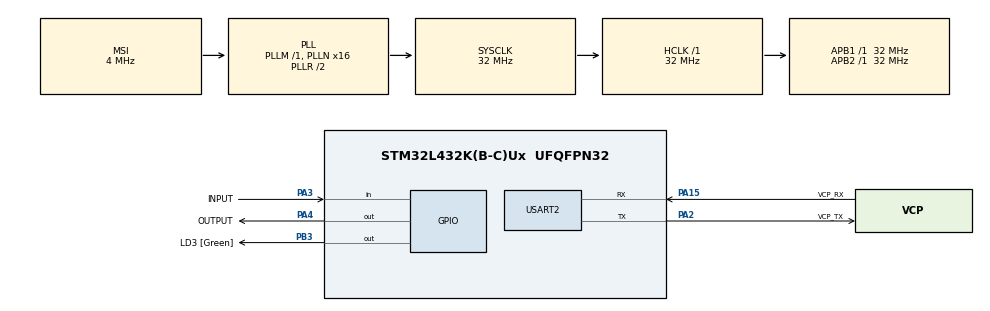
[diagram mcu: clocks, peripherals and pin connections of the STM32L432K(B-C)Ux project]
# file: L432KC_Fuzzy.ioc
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Mcu.Family=STM32L4
Mcu.Name=STM32L432K(B-C)Ux
Mcu.Package=UFQFPN32
NVIC.PriorityGroup=NVIC_PRIORITYGROUP_4
PA0.GPIO_Label=MCO [High speed clock in]
PA0.Mode=HSE-External-Clock-Source-for-LittleOrca
PA0.Signal=RCC_CK_IN
PA13\ (JTMS-SWDIO).GPIO_Label=SWDIO
PA13\ (JTMS-SWDIO).Mode=Serial_Wire
PA13\ (JTMS-SWDIO).Signal=SYS_JTMS-SWDIO
PA14\ (JTCK-SWCLK).GPIO_Label=SWCLK
PA14\ (JTCK-SWCLK).Mode=Serial_Wire
PA14\ (JTCK-SWCLK).Signal=SYS_JTCK-SWCLK
PA15\ (JTDI).GPIO_Label=VCP_RX
PA15\ (JTDI).Mode=Asynchronous
PA15\ (JTDI).Signal=USART2_RX
PA2.GPIO_Label=VCP_TX
PA2.Mode=Asynchronous
PA2.Signal=USART2_TX
PA3.GPIO_Label=INPUT
PA3.Signal=GPIO_Input
PA4.GPIO_Label=OUTPUT
PA4.Signal=GPIO_Output
PB3\ (JTDO-TRACESWO).GPIO_Label=LD3 [Green]
PB3\ (JTDO-TRACESWO).Signal=GPIO_Output
PC14-OSC32_IN\ (PC14).Mode=LSE-External-Oscillator
PC14-OSC32_IN\ (PC14).Signal=RCC_OSC32_IN
PC15-OSC32_OUT\ (PC15).Mode=LSE-External-Oscillator
PC15-OSC32_OUT\ (PC15).Signal=RCC_OSC32_OUT
ProjectManager.HeapSize=0x200
ProjectManager.StackSize=0x400
ProjectManager.TargetToolchain=STM32CubeIDE
RCC.AHBFreq_Value=32000000
RCC.APB1Freq_Value=32000000
RCC.APB1TimFreq_Value=32000000
RCC.APB2Freq_Value=32000000
RCC.APB2TimFreq_Value=32000000
RCC.CortexFreq_Value=32000000
RCC.HCLKFreq_Value=32000000
RCC.HSE_VALUE=8000000
RCC.HSI16_VALUE=16000000
RCC.HSI48_VALUE=48000000
RCC.HSI_VALUE=16000000
RCC.MSI_VALUE=4000000
RCC.PLLMUL=RCC_PLLMUL_4
RCC.PLLN=16
RCC.SYSCLKFreq_VALUE=32000000
RCC.SYSCLKSource=RCC_SYSCLKSOURCE_PLLCLK
RCC.VCOOutputFreq_Value=64000000
USART2.VirtualMode-Asynchronous=VM_ASYNC
board=NUCLEO-L432KC

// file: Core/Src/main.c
/* USER CODE BEGIN Header */
/**
  ******************************************************************************
  * @file           : main.c
  * @brief          : Main program body
  ******************************************************************************
  * @attention
  *
  * Copyright (c) 2024 STMicroelectronics.
  * All rights reserved.
  *
  * This software is licensed under terms that can be found in the LICENSE file
  * in the root directory of this software component.
  * If no LICENSE file comes with this software, it is provided AS-IS.
  *
  ******************************************************************************
  */
/* USER CODE END Header */
#include "main.h"

/* USER CODE BEGIN Includes */
#include <stdlib.h>
#include <stdio.h>
/* USER CODE END Includes */

UART_HandleTypeDef huart2;

/* USER CODE BEGIN PV */

////////////////////////////////////////////////////////////////////////////////
volatile int Fuzzy_Matrix[3][3];
volatile int NE,NDE,PE,PDE,ZE,ZDE,err_sum,error,d_err,Kp,Ki,Kd,prev_err;
//volatile float
volatile int PWM_Fuzzy,ticks;
volatile int target=50;
volatile int Kp_small,Kp_medium,Kp_large;
volatile int Ki_small,Ki_medium,Ki_large;
volatile int Kd_small,Kd_medium,Kd_large;
volatile int out;
const int Kp_s=1,Kp_m=2,Kp_l=3;
const int Ki_s=1,Ki_m=2,Ki_l=3;
const int Kd_s=1,Kd_m=2,Kd_l=3;
////////////////////////////////////////////////////////////////////////////////

/* USER CODE END PV */

void SystemClock_Config(void);
static void MX_GPIO_Init(void);
static void MX_USART2_UART_Init(void);
/* USER CODE BEGIN PFP */

////////////////////////////////////////////////////////////////////////////////
void init(){
	int i,j;
	NE=0; PDE=0; NDE=0; PE=0; ZE=0; ZDE=0;
	Kp=0; Ki=0; Kd=0;
	error=0;
	prev_err=0;
	PWM_Fuzzy=0;
	err_sum=0;
	for(i=0;i<3;i++){
		for(j=0;j<3;j++) Fuzzy_Matrix[i][j]=0;
	}
}

int max(int x,int y){
	return x>y?x:y;
}

int min(int x,int y){
	return x>y?y:x;
}

void Fuzzification(){
	NE=0; PDE=0; NDE=0; PE=0;
	if(error<=-20) NE=20;
	else if(error>=20) PE=20;
	else{
		if(error>=0){
			PE=error;
			NDE=20-error;
		}
		else{
			NE=-error;
			ZDE=20+error;
		}
	}
	if(d_err<=-20) NDE=20;
	else if(d_err>=20) PDE=20;
	else{
		if(d_err>=0){
			PDE=d_err;
			ZDE=20-d_err;
		}
		else{
			NDE=-d_err;
			ZDE=20+d_err;
		}
	}
}

void Create_Fuzzy_Matrix(){
	Fuzzy_Matrix[0][0]=min(NE,NDE);
	Fuzzy_Matrix[0][1]=min(NE,ZDE);
	Fuzzy_Matrix[0][2]=min(NE,PDE);
	Fuzzy_Matrix[1][0]=min(ZE,NDE);
	Fuzzy_Matrix[1][1]=min(ZE,ZDE);
	Fuzzy_Matrix[1][2]=min(ZE,PDE);
	Fuzzy_Matrix[2][0]=min(PE,NDE);
	Fuzzy_Matrix[2][1]=min(PE,ZDE);
	Fuzzy_Matrix[2][2]=min(PE,PDE);
}

void Defuzzification(){
	Kp_small=max(Fuzzy_Matrix[0][0],Fuzzy_Matrix[0][1]);
	Kp_large=max(Fuzzy_Matrix[2][1],Fuzzy_Matrix[2][2]);
	Kp_medium=max(Fuzzy_Matrix[0][1],max(Fuzzy_Matrix[1][0],max(Fuzzy_Matrix[1][1],max(Fuzzy_Matrix[1][2],Fuzzy_Matrix[2][1]))));

	Ki_small=max(Fuzzy_Matrix[0][0],Fuzzy_Matrix[0][1]);
	Ki_large=max(Fuzzy_Matrix[2][1],Fuzzy_Matrix[2][2]);
	Ki_medium=max(Fuzzy_Matrix[0][1],max(Fuzzy_Matrix[1][0],max(Fuzzy_Matrix[1][1],max(Fuzzy_Matrix[1][2],Fuzzy_Matrix[2][1]))));

	Kd_large=max(Fuzzy_Matrix[0][0],Fuzzy_Matrix[0][1]);
	Kd_small=max(Fuzzy_Matrix[2][1],Fuzzy_Matrix[2][2]);
	Kd_medium=max(Fuzzy_Matrix[0][1],max(Fuzzy_Matrix[1][0],max(Fuzzy_Matrix[1][1],max(Fuzzy_Matrix[1][2],Fuzzy_Matrix[2][1]))));

	if(Kp_small!=0 || Kp_medium!=0 || Kp_large!=0) Kp=(Kp_s*Kp_small+Kp_m*Kp_medium+Kp_l*Kp_large)/(Kp_small+Kp_medium+Kp_large);
	if(Ki_small!=0 || Ki_medium!=0 || Ki_large!=0) Ki=(Ki_s*Ki_small+Ki_m*Ki_medium+Ki_l*Ki_large)/(Ki_small+Ki_medium+Ki_large);
	if(Kd_small!=0 || Kd_medium!=0 || Kd_large!=0) Kd=(Kd_s*Kd_small+Kd_m*Kd_medium+Kd_l*Kd_large)/(Kd_small+Kd_medium+Kd_large);
}

int Compute_PWM(){
	err_sum+=error;
	out=Kp*error + Ki*err_sum + Kd*d_err;
	if(out>127) out=127;
	else if(out<0) out=0;
	prev_err=error;
	return out;
}

//int PWM_Fuzzy = 200;

void Input_Fuzzy(int input)
{

	//Receiving Data as ticks
	ticks=input;
	//Call the Fuzzy Code Function Here and return the value to PWM_Fuzzy
	error=target-ticks;
	d_err=error-prev_err;
	Fuzzification();
	Create_Fuzzy_Matrix();
	Defuzzification();
	PWM_Fuzzy=Compute_PWM();

}
////////////////////////////////////////////////////////////////////////////////

/* USER CODE END PFP */

int main(void)
{

  /* MCU Configuration--------------------------------------------------------*/

  /* Reset of all peripherals, Initializes the Flash interface and the Systick. */
  HAL_Init();

  /* Configure the system clock */
  SystemClock_Config();

  /* Initialize all configured peripherals */
  MX_GPIO_Init();
  MX_USART2_UART_Init();
  /* USER CODE BEGIN 2 */

  //////////////////////////////////////////////////////////////////////////////

  //init();
  //int input_ = 60;
  //Send data
  //Input_Fuzzy(input_);

  //////////////////////////////////////////////////////////////////////////////

  /* USER CODE END 2 */

  /* Infinite loop */
  /* USER CODE BEGIN WHILE */
  while (1)
  {

	////////////////////////////////////////////////////////////////////////////
	//Send PWM;
	////////////////////////////////////////////////////////////////////////////

    /* USER CODE END WHILE */

  }
}

void SystemClock_Config(void)
{
  RCC_OscInitTypeDef RCC_OscInitStruct = {0};
  RCC_ClkInitTypeDef RCC_ClkInitStruct = {0};

  /** Configure the main internal regulator output voltage
  */
  if (HAL_PWREx_ControlVoltageScaling(PWR_REGULATOR_VOLTAGE_SCALE1) != HAL_OK)
  {
    Error_Handler();
  }

  /** Configure LSE Drive Capability
  */
  HAL_PWR_EnableBkUpAccess();
  __HAL_RCC_LSEDRIVE_CONFIG(RCC_LSEDRIVE_LOW);

  /** Initializes the RCC Oscillators according to the specified parameters
  * in the RCC_OscInitTypeDef structure.
  */
  RCC_OscInitStruct.OscillatorType = RCC_OSCILLATORTYPE_LSE|RCC_OSCILLATORTYPE_MSI;
  RCC_OscInitStruct.LSEState = RCC_LSE_ON;
  RCC_OscInitStruct.MSIState = RCC_MSI_ON;
  RCC_OscInitStruct.MSICalibrationValue = 0;
  RCC_OscInitStruct.MSIClockRange = RCC_MSIRANGE_6;
  RCC_OscInitStruct.PLL.PLLState = RCC_PLL_ON;
  RCC_OscInitStruct.PLL.PLLSource = RCC_PLLSOURCE_MSI;
  RCC_OscInitStruct.PLL.PLLM = 1;
  RCC_OscInitStruct.PLL.PLLN = 16;
  RCC_OscInitStruct.PLL.PLLP = RCC_PLLP_DIV7;
  RCC_OscInitStruct.PLL.PLLQ = RCC_PLLQ_DIV2;
  RCC_OscInitStruct.PLL.PLLR = RCC_PLLR_DIV2;
  if (HAL_RCC_OscConfig(&RCC_OscInitStruct) != HAL_OK)
  {
    Error_Handler();
  }

  /** Initializes the CPU, AHB and APB buses clocks
  */
  RCC_ClkInitStruct.ClockType = RCC_CLOCKTYPE_HCLK|RCC_CLOCKTYPE_SYSCLK
                              |RCC_CLOCKTYPE_PCLK1|RCC_CLOCKTYPE_PCLK2;
  RCC_ClkInitStruct.SYSCLKSource = RCC_SYSCLKSOURCE_PLLCLK;
  RCC_ClkInitStruct.AHBCLKDivider = RCC_SYSCLK_DIV1;
  RCC_ClkInitStruct.APB1CLKDivider = RCC_HCLK_DIV1;
  RCC_ClkInitStruct.APB2CLKDivider = RCC_HCLK_DIV1;

  if (HAL_RCC_ClockConfig(&RCC_ClkInitStruct, FLASH_LATENCY_1) != HAL_OK)
  {
    Error_Handler();
  }

  /** Enable MSI Auto calibration
  */
  HAL_RCCEx_EnableMSIPLLMode();
}

static void MX_USART2_UART_Init(void)
{

  huart2.Instance = USART2;
  huart2.Init.BaudRate = 115200;
  huart2.Init.WordLength = UART_WORDLENGTH_8B;
  huart2.Init.StopBits = UART_STOPBITS_1;
  huart2.Init.Parity = UART_PARITY_NONE;
  huart2.Init.Mode = UART_MODE_TX_RX;
  huart2.Init.HwFlowCtl = UART_HWCONTROL_NONE;
  huart2.Init.OverSampling = UART_OVERSAMPLING_16;
  huart2.Init.OneBitSampling = UART_ONE_BIT_SAMPLE_DISABLE;
  huart2.AdvancedInit.AdvFeatureInit = UART_ADVFEATURE_NO_INIT;
  if (HAL_UART_Init(&huart2) != HAL_OK)
  {
    Error_Handler();
  }

}

static void MX_GPIO_Init(void)
{
  GPIO_InitTypeDef GPIO_InitStruct = {0};

  /* GPIO Ports Clock Enable */
  __HAL_RCC_GPIOC_CLK_ENABLE();
  __HAL_RCC_GPIOA_CLK_ENABLE();
  __HAL_RCC_GPIOB_CLK_ENABLE();

  /*Configure GPIO pin Output Level */
  HAL_GPIO_WritePin(OUTPUT_GPIO_Port, OUTPUT_Pin, GPIO_PIN_RESET);

  /*Configure GPIO pin Output Level */
  HAL_GPIO_WritePin(LD3_GPIO_Port, LD3_Pin, GPIO_PIN_RESET);

  /*Configure GPIO pin : INPUT_Pin */
  GPIO_InitStruct.Pin = INPUT_Pin;
  GPIO_InitStruct.Mode = GPIO_MODE_INPUT;
  GPIO_InitStruct.Pull = GPIO_NOPULL;
  HAL_GPIO_Init(INPUT_GPIO_Port, &GPIO_InitStruct);

  /*Configure GPIO pin : OUTPUT_Pin */
  GPIO_InitStruct.Pin = OUTPUT_Pin;
  GPIO_InitStruct.Mode = GPIO_MODE_OUTPUT_PP;
  GPIO_InitStruct.Pull = GPIO_NOPULL;
  GPIO_InitStruct.Speed = GPIO_SPEED_FREQ_LOW;
  HAL_GPIO_Init(OUTPUT_GPIO_Port, &GPIO_InitStruct);

  /*Configure GPIO pin : LD3_Pin */
  GPIO_InitStruct.Pin = LD3_Pin;
  GPIO_InitStruct.Mode = GPIO_MODE_OUTPUT_PP;
  GPIO_InitStruct.Pull = GPIO_NOPULL;
  GPIO_InitStruct.Speed = GPIO_SPEED_FREQ_LOW;
  HAL_GPIO_Init(LD3_GPIO_Port, &GPIO_InitStruct);

}

void Error_Handler(void)
{
  __disable_irq();
  while (1)
  {
  }
}
